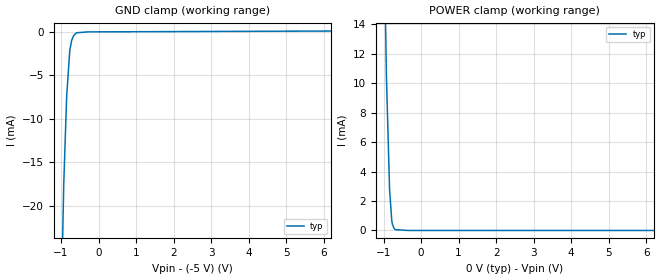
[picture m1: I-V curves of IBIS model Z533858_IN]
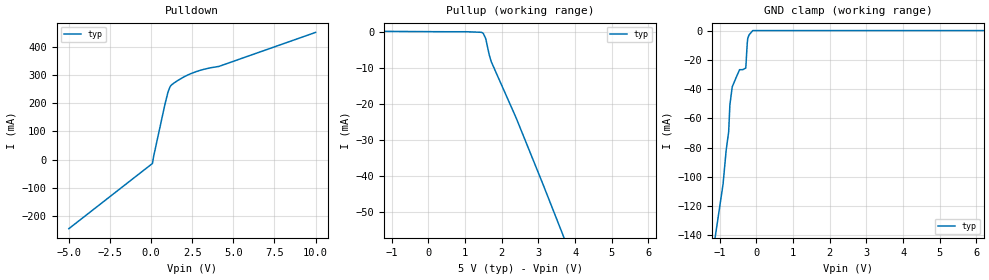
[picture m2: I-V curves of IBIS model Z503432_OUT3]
| YOU ARE ONLY AUTHORIZED TO USE THIS SOFTWARE
| ACCORDING TO LICENSOR'S LICENSE RESTRICTIONS.
[IBIS Ver] 3.1
[File Name] mc100elt25d.ibs
[File Rev] 1.0
[Source] Derived from mc10elt21d.ibs and mc100el01d.ibs
|   Measured and created by ICX Technology
[Date] 1/21/2003
[Copyright]
| (C) COPYRIGHT 1993-2000
| MENTOR GRAPHICS CORPORATION
| ICX STANDARD LIBRARY, ICX PROJECT MODELING,
| ICX CUSTOM MODELING, ICX VENDOR MODEL
| ALL RIGHTS RESERVED.
| THE FOLLOWING ARE TRADEMARKS OR SERVICE MARKS OF
| MENTOR GRAPHICS CORPORATION:ICX (R), ICX STANDARD
| LIBRARY(R), ICX PROJECT MODELING(R), ICX CUSTOM
| MODELING(R), qualityIBIS(TM), MODELVIEWER(TM),
| AND MODELEDITOR(TM)
| ALL COPIES OF SOFTWARE, INCLUDING BUT NOT LIMITED TO
| ANY MODIFICATIONS, ENHANCEMENTS OR DERIVATIVE WORKS,
| MUST CONTAIN ALL MENTOR GRAPHICS CORPORATION'S
| NOTICES AND LEGENDS, INCLUDING THOSE EMBEDDED IN
| SOFTWARE AND THOSE AFFIXED TO SOFTWARE MEDIUM
| AND CONTAINER, AS RECEIVED FROM MENTOR GRAPHICS
| CORPORATION.
|  ZAP Model Builder 2.7
[Component] MC100ELT21D
[Manufacturer] OnSemiconductor
[Package]
| variable   typ   min   max
R_pkg  .152ohms NA NA
L_pkg  2.714nH NA NA
C_pkg  .364pF NA NA
[Pin] signal_name  model_name  R_pin  L_pin C_pin
1 VEE POWER .154 2.924n .374p
2 D0 Z533858_IN .15 2.504n .354p
3 _D0 Z533858_IN .15 2.504n .354p
4 VBB POWER .154 2.924n .374p
5 GND GND .154 2.924n .374p
6 NC NC
7 Q0 Z503432_OUT3 .15 2.504n .354p
8 VCC POWER .154 2.924n .374p
| Models and submodels in the file (2): Z533858_IN (Input_ECL), Z503432_OUT3 (Output)
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| (C) COPYRIGHT 1993-2000
| MENTOR GRAPHICS CORPORATION
| ICX STANDARD LIBRARY, ICX PROJECT MODELING,
| ICX CUSTOM MODELING, ICX VENDOR MODEL
| ALL RIGHTS RESERVED.
| THE FOLLOWING ARE TRADEMARKS OR SERVICE MARKS OF
| MENTOR GRAPHICS CORPORATION:ICX (R), ICX STANDARD
| LIBRARY(R), ICX PROJECT MODELING(R), ICX CUSTOM
| MODELING(R), qualityIBIS(TM), MODELVIEWER(TM),
| AND MODELEDITOR(TM)
| ALL COPIES OF SOFTWARE, INCLUDING BUT NOT LIMITED TO
| ANY MODIFICATIONS, ENHANCEMENTS OR DERIVATIVE WORKS,
| MUST CONTAIN ALL MENTOR GRAPHICS CORPORATION'S
| NOTICES AND LEGENDS, INCLUDING THOSE EMBEDDED IN
| SOFTWARE AND THOSE AFFIXED TO SOFTWARE MEDIUM
| AND CONTAINER, AS RECEIVED FROM MENTOR GRAPHICS
| CORPORATION.
| Model Application Version 1.89 2/18/99.
[Model] Z533858_IN
Model_type Input_ECL
Vinl = -1.475V
Vinh = -1.165V
C_comp 1.000pF NA NA
| variable typ   min   max
[Voltage Range] -5.000V NA NA
[GND Clamp Reference] -5.000V NA NA
[POWER Clamp Reference] 0.000V NA NA
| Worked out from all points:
|   GND clamp passes 1 mA (typ) near -0.72 V on its own axis
|   POWER clamp passes 1 mA (typ) near -0.79 V on its own axis
[GND Clamp]
-5V       -873.1mA   NA         NA
-928mV    -17.59mA   NA         NA
-850mV    -7.445mA   NA         NA
-767mV    -2.144mA   NA         NA
-716mV    -979.6uA   NA         NA
-663mV    -440.2uA   NA         NA
-586mV    -126.2uA   NA         NA
-293mV    -20.85uA   NA         NA
10V       134.4uA    NA         NA
[POWER Clamp]
-5V       1.84A      NA         NA
-1.152V   54.78mA    NA         NA
-1.078V   34.6mA     NA         NA
-922.8mV  10.44mA    NA         NA
-839.3mV  2.787mA    NA         NA
-781.3mV  699.1uA    NA         NA
-766.3mV  440.5uA    NA         NA
-722.9mV  156.8uA    NA         NA
-685.9mV  52.55uA    NA         NA
-342.9mV  0A         NA         NA
10V       0A         NA         NA
| (C) COPYRIGHT 1993-2000
| MENTOR GRAPHICS CORPORATION
| ICX STANDARD LIBRARY, ICX PROJECT MODELING,
| ICX CUSTOM MODELING, ICX VENDOR MODEL
| ALL RIGHTS RESERVED.
| THE FOLLOWING ARE TRADEMARKS OR SERVICE MARKS OF
| MENTOR GRAPHICS CORPORATION:ICX (R), ICX STANDARD
| LIBRARY(R), ICX PROJECT MODELING(R), ICX CUSTOM
| MODELING(R), qualityIBIS(TM), MODELVIEWER(TM),
| AND MODELEDITOR(TM)
| ALL COPIES OF SOFTWARE, INCLUDING BUT NOT LIMITED TO
| ANY MODIFICATIONS, ENHANCEMENTS OR DERIVATIVE WORKS,
| MUST CONTAIN ALL MENTOR GRAPHICS CORPORATION'S
| NOTICES AND LEGENDS, INCLUDING THOSE EMBEDDED IN
| SOFTWARE AND THOSE AFFIXED TO SOFTWARE MEDIUM
| AND CONTAINER, AS RECEIVED FROM MENTOR GRAPHICS
| CORPORATION.
| Model Application Version 1.89 2/18/99.
[Model] Z503432_OUT3
Model_type Output
Vref=0.000V
Rref=500.0Mohms
Cref=20.00pF
Vmeas=1.500V
C_comp 1.000pF NA NA
| variable typ   min   max
[Voltage Range] 5.000V NA NA
[POWER Clamp Reference] 5.000V NA NA
[Pullup Reference] 5.000V NA NA
[Pulldown Reference] 0.000V NA NA
[GND Clamp Reference] 0.000V NA NA
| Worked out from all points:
|   slope of the pulldown table from 0 to 0.75 V, typ, clamps not added: 3.97 ohm
|   slope of the pullup table from 0 to 0.75 V, typ, clamps not added: 25.7 kohm
|   GND clamp passes 1 mA (typ) near -0.13 V on its own axis
[GND Clamp]
-5V       -795.2mA   NA         NA
-909mV    -105.1mA   NA         NA
-822.9mV  -81.6mA    NA         NA
-755.7mV  -69.26mA   NA         NA
-721.9mV  -50.8mA    NA         NA
-659.1mV  -38.51mA   NA         NA
-457.5mV  -26.71mA   NA         NA
-288.5mV  -25.61mA   NA         NA
-249.1mV  -8.733mA   NA         NA
-234.3mV  -5.216mA   NA         NA
-99.3mV   0A         NA         NA
10V       0A         NA         NA
[Pulldown]
-5V       -245.1mA   NA         NA
82.13mV   -13.93mA   NA         NA
156.3mV   11.9mA     NA         NA
835.3mV   194.1mA    NA         NA
1.025V    238.7mA    NA         NA
1.147V    257.6mA    NA         NA
1.274V    266.2mA    NA         NA
2.024V    293.9mA    NA         NA
2.744V    311.8mA    NA         NA
4.117V    330.1mA    NA         NA
10V       450.8mA    NA         NA
[Pullup]
-5V       549.5uA    NA         NA
465.5mV   206.9uA    NA         NA
1.043V    206.9uA    NA         NA
1.441V    48.73uA    NA         NA
1.48V     -131.4uA   NA         NA
1.499V    -331.6uA   NA         NA
1.562V    -1.726mA   NA         NA
1.655V    -6.14mA    NA         NA
1.712V    -8.125mA   NA         NA
2.395V    -23.89mA   NA         NA
3.129V    -42.43mA   NA         NA
10V       -220.8mA   NA         NA
[POWER Clamp]
-5V       0A         NA         NA
10V       0A         NA         NA
[Ramp]
| variable typ min max
dV/dt_r 1.925/2.304n NA NA
dV/dt_f 1.925/1.045n NA NA
R_load = 500.0Ohms
